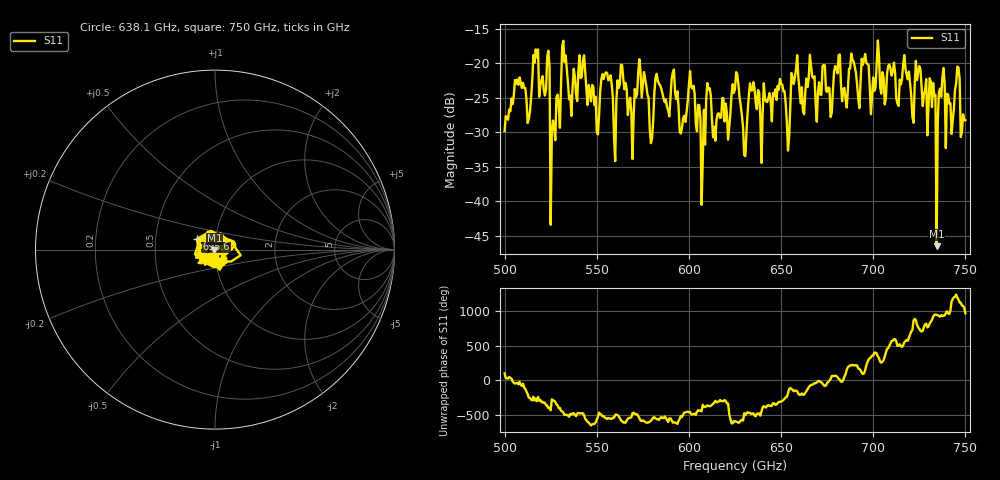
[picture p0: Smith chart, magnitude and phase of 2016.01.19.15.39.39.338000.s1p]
!Created with skrf (http://scikit-rf.org).
# GHz S RI R 50.0
!freq ReS11 ImS11
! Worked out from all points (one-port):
!   401 points, 500 GHz to 750 GHz, reference 50 ohm
!   lowest |S11| = -46.5 dB at 734.4 GHz (marker M1), VSWR 1.01, Z = 49.7 - j0.355 ohm
!   |S11| at or under -10 dB: start of sweep to end of sweep
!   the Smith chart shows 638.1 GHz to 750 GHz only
!   S11 on the Smith chart (normalised r, x): 638.1 GHz: 0.94, -0.10; 695.6 GHz: 0.81, +0.10; 750 GHz: 0.97, -0.07
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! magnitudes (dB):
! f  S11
! 500 GHz  -29.8
! 506.9 GHz  -22.4
! 513.1 GHz  -28.0
! 516.9 GHz  -18.0
! 523.1 GHz  -19.0
! 526.2 GHz  -28.3
! 531.2 GHz  -17.5
! 550 GHz  -29.9
! 562.5 GHz  -23.1
! 568.1 GHz  -25.0
! 573.8 GHz  -21.2
! 579.4 GHz  -31.6
! 593.8 GHz  -24.1
! 601.9 GHz  -23.6
! 607.5 GHz  -34.2
! 610.6 GHz  -23.8
! 613.8 GHz  -29.2
! 625 GHz  -23.7
! 630 GHz  -33.3
! 633.8 GHz  -23.9
! 638.1 GHz  -24.3
! 656.2 GHz  -22.0
! 687.5 GHz  -20.7
! 695.6 GHz  -18.6
! 718.8 GHz  -22.3
! 734.4 GHz  -46.5
! 745.6 GHz  -20.5
! 750 GHz  -28.2
